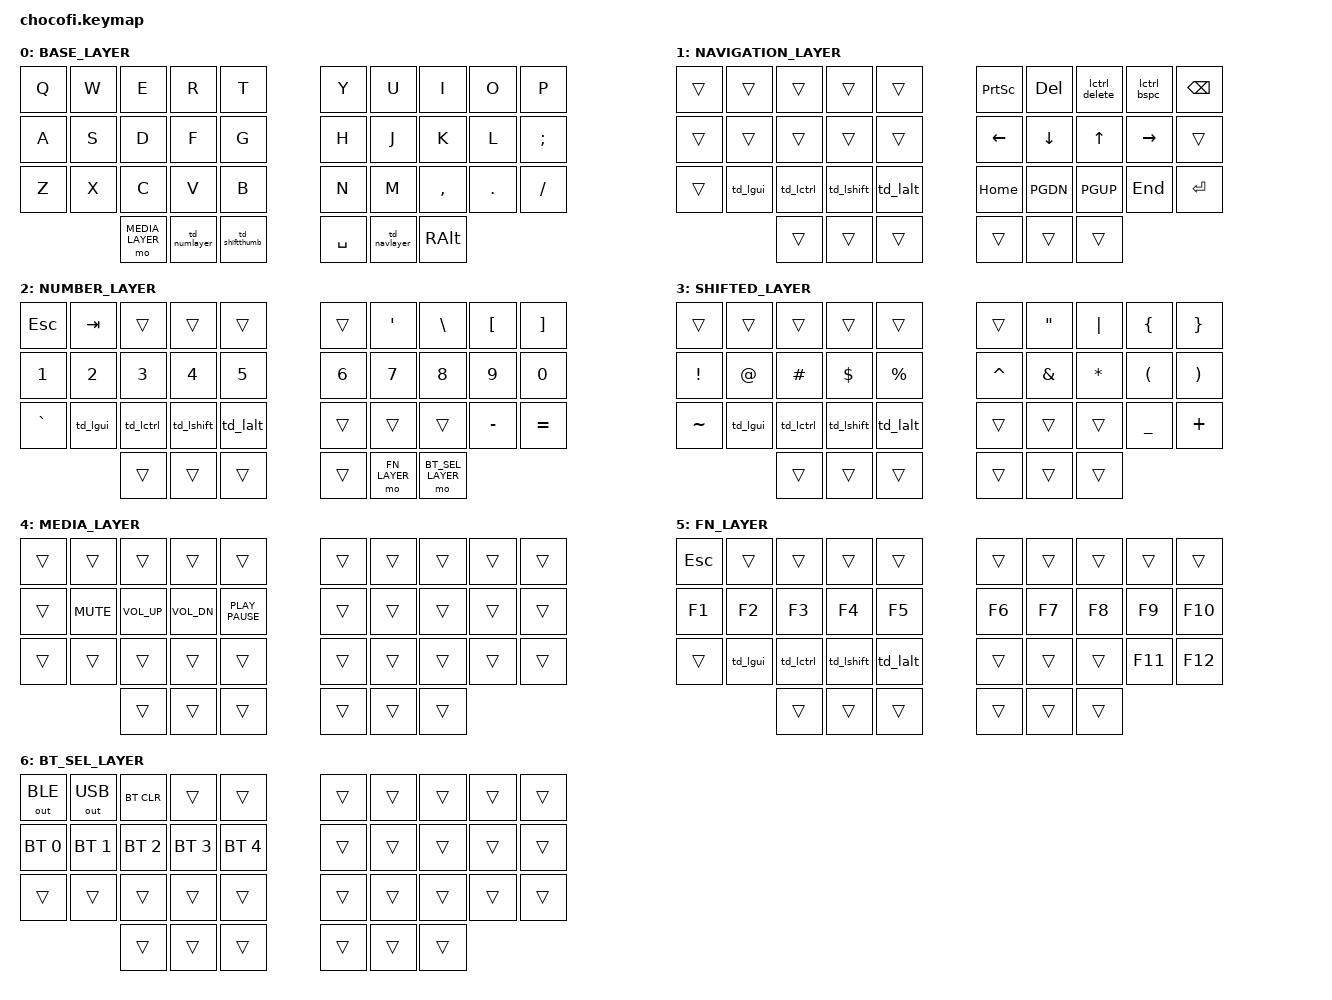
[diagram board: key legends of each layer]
#include <behaviors.dtsi>
#include <dt-bindings/zmk/keys.h>
#include <dt-bindings/zmk/bt.h>
#include <dt-bindings/zmk/mouse.h>
#include <dt-bindings/zmk/outputs.h>

#define BASE_LAYER 0
#define NAVIGATION_LAYER 1
#define NUMBER_LAYER 2
#define SHIFTED_LAYER 3
#define MEDIA_LAYER 4
#define FN_LAYER 5
#define BT_SEL_LAYER 6

&sk {
//*Sticky key parameters
    release-after-ms = <1600>;
    quick-release;
};
&soft_off {
    hold-time-ms = <3000>; // Only turn off if the key is held for 3 seconds or longer.
};

/ {
    macros {
        nav_ctrl: nav_ctrl {
            compatible = "zmk,behavior-macro";
            #binding-cells = <0>;
            bindings
                = <&macro_press &mo NAVIGATION_LAYER>
                , <&macro_press &kp LCTRL>
                , <&macro_pause_for_release>
                , <&macro_release &kp LCTRL>
                , <&macro_release &mo NAVIGATION_LAYER>
                ;
        };
        nav_shift_ctrl: nav_shift_ctrl {
            compatible = "zmk,behavior-macro";
            #binding-cells = <0>;
            bindings
                = <&macro_press &mo NAVIGATION_LAYER>
                , <&macro_press &kp LSHIFT>
                , <&macro_press &kp LCTRL>
                , <&macro_pause_for_release>
                , <&macro_release &kp LSHIFT>
                , <&macro_release &kp LCTRL>
                , <&macro_release &mo NAVIGATION_LAYER>
                ;
        };
        //LCTRL + BSPC
        lctrl_bspc: lctrl_bspc {
            compatible = "zmk,behavior-macro";
            #binding-cells = <0>;
            bindings
                = <&macro_press &kp LCTRL>
                , <&macro_tap &kp BSPC>
                , <&macro_release &kp LCTRL>
                ;
        };
         //LCTRL + DELETE
        lctrl_delete: lctrl_delete {
            compatible = "zmk,behavior-macro";
            #binding-cells = <0>;
            bindings
                = <&macro_press &kp LCTRL>
                , <&macro_tap &kp DELETE>
                , <&macro_release &kp LCTRL>
                ;
        };
        lshift_lctrl: lshift_lctrl {
            compatible = "zmk,behavior-macro";
            #binding-cells = <0>;
            bindings
                = <&macro_tap &sk LSHIFT>
                , <&macro_tap &sk LCTRL>
                ;
        };

    };

    behaviors {
        // SHIFT KEY TAP DANCE //
        td_shiftthumb: shift_tap_dance {
            compatible = "zmk,behavior-tap-dance";
            #binding-cells = <0>;
            tapping-term-ms = <250>;
            bindings = <&kp LSHIFT>, <&sl SHIFTED_LAYER>;
        };
        // NUMBER_LAYER TAP DANCE //
        td_numlayer: num_layer_tap_dance {
            compatible = "zmk,behavior-tap-dance";
            #binding-cells = <0>;
            tapping-term-ms = <250>;
            bindings = <&mo NUMBER_LAYER>, <&sl SHIFTED_LAYER>; 
        };
        // NAVIGATION TAP DANCE //
        td_navlayer: navigation_layer_tap_dance {
            compatible = "zmk,behavior-tap-dance";
            #binding-cells = <0>;
            tapping-term-ms = <200>;
            bindings = <&mo NAVIGATION_LAYER>, <&nav_ctrl>, <&nav_shift_ctrl>;
        };
        // MOD TAP DANCES //
        td_lshift: lshft_tap_dance {
            compatible = "zmk,behavior-tap-dance";
            #binding-cells = <0>;
            tapping-term-ms = <200>;
            bindings = <&sk LSHFT>, <&kt LSHFT>;
        };
        td_lctrl: lctrl_tap_dance {
            compatible = "zmk,behavior-tap-dance";
            #binding-cells = <0>;
            tapping-term-ms = <200>;
            bindings = <&sk LCTRL>, <&kt LCTRL>;
        };
        td_lgui: lgui_tap_dance {
            compatible = "zmk,behavior-tap-dance";
            #binding-cells = <0>;
            tapping-term-ms = <200>;
            bindings = <&sk LGUI>, <&kt LGUI>;
        };
        td_lalt: lalt_tap_dance {
            compatible = "zmk,behavior-tap-dance";
            #binding-cells = <0>;
            tapping-term-ms = <200>;
            bindings = <&sk LALT>, <&kt LALT>;
        };
        // SINGLE QUOTE TAP DANCE // 
        td_sqt: single_quote_tap_dance {
            compatible = "zmk,behavior-tap-dance";
            #binding-cells = <0>;
            tapping-term-ms = <200>;
            bindings = <&kp SINGLE_QUOTE>, <&kp DOUBLE_QUOTES>;
        };
        // BACKSLASH AND BRACKETS TAP DANCES //
        td_bslh:back_slash_tap_dance {
            compatible = "zmk,behavior-tap-dance";
            #binding-cells = <0>;
            tapping-term-ms = <200>;
            bindings = <&kp BACKSLASH>, <&kp PIPE>;
        };
        td_lbkt: left_bracket_tap_dance {
            compatible = "zmk,behavior-tap-dance";
            #binding-cells = <0>;
            tapping-term-ms = <200>;
            bindings = <&kp LEFT_BRACKET>, <&kp LEFT_BRACE>;
        };
        td_rbkt: right_bracket_tap_dance {
            compatible = "zmk,behavior-tap-dance";
            #binding-cells = <0>;
            tapping-term-ms = <200>;
            bindings = <&kp RIGHT_BRACKET>, <&kp RIGHT_BRACE>;
        };
    };

    combos {
        compatible = "zmk,combos";
        // SOFT OFF COMBO //
        combo_soft_off {
            timeout-ms = <40>;
            key-positions = <30 31>;
            bindings = <&soft_off>;
        };
    };
    keymap {
                compatible = "zmk,keymap";
//--------------BASE_LAYER--------------//
                BASE_LAYER {
                            bindings = <
    &kp Q &kp W  &kp E &kp R &kp T                   &kp Y &kp U  &kp I    &kp O   &kp P
    &kp A &kp S  &kp D &kp F &kp G                   &kp H &kp J  &kp K     &kp L   &kp SEMICOLON
    &kp Z &kp X  &kp C &kp V &kp B                   &kp N &kp M  &kp COMMA &kp DOT &kp FSLH
    &mo MEDIA_LAYER  &td_numlayer  &td_shiftthumb    &kp SPACE  &td_navlayer  &kp RALT
                        >;
                };
//--------------NAVIGATION_LAYER--------------//
                NAVIGATION_LAYER {
                        bindings = <
   &trans  &trans  &trans  &trans  &trans               &kp PRINTSCREEN  &kp DELETE  &lctrl_delete  &lctrl_bspc  &kp BSPC
   &trans  &trans  &trans  &trans  &trans               &kp LEFT  &kp DOWN  &kp UP    &kp RIGHT    &trans 
   &trans  &td_lgui  &td_lctrl  &td_lshift  &td_lalt    &kp HOME  &kp PGDN  &kp PGUP  &kp END  &kp ENTER
   &trans  &trans  &trans                               &trans  &trans  &trans
                        >;
                };
                
//--------------NUMBER LAYER--------------//
                NUMBER_LAYER {
                        bindings = <
    &kp ESC  &kp TAB  &trans  &trans  &trans                &trans  &kp SQT  &kp BSLH  &kp LBKT  &kp RBKT
    &kp N1  &kp N2  &kp N3  &kp N4  &kp N5                  &kp N6  &kp N7  &kp N8  &kp N9  &kp N0
    &kp GRAVE  &td_lgui  &td_lctrl  &td_lshift  &td_lalt    &trans  &trans  &trans  &kp MINUS  &kp EQUAL
    &trans  &trans  &trans                                  &trans  &mo FN_LAYER  &mo BT_SEL_LAYER
                        >;
                };
//--------------SHIFTED LAYER--------------//
                SHIFTED_LAYER {
                        bindings = <
    &trans   &trans  &trans  &trans  &trans                 &trans  &kp DQT  &kp PIPE  &kp LBRC  &kp RBRC
    &kp EXCL &kp AT &kp HASH &kp DLLR &kp PRCNT             &kp CARET &kp AMPS &kp ASTRK &kp LPAR &kp RPAR
    &kp TILDE  &td_lgui  &td_lctrl  &td_lshift  &td_lalt    &trans  &trans  &trans  &kp UNDER  &kp PLUS
    &trans  &trans  &trans                                  &trans  &trans  &trans 
                        >;
                };
//--------------MEDIA LAYER--------------//
                MEDIA_LAYER {
                    bindings = <
    &trans  &trans  &trans  &trans  &trans                              &trans  &trans  &trans  &trans  &trans 
    &trans  &kp K_MUTE  &kp K_VOL_UP  &kp K_VOL_DN  &kp K_PLAY_PAUSE    &trans  &trans  &trans  &trans  &trans
    &trans  &trans  &trans  &trans  &trans                              &trans  &trans  &trans  &trans  &trans 
    &trans  &trans  &trans                                              &trans  &trans  &trans
                    >;
                }; 
//--------------FN LAYER--------------//
                FN_LAYER {
                    bindings = <
    &kp ESC  &trans  &trans  &trans  &trans                &trans  &trans  &trans  &trans  &trans 
    &kp F1  &kp F2  &kp F3  &kp F4  &kp F5                &kp F6  &kp F7  &kp F8  &kp F9  &kp F10
    &trans  &td_lgui  &td_lctrl  &td_lshift  &td_lalt    &trans  &trans  &trans  &kp F11  &kp F12 
    &trans  &trans  &trans                                &trans  &trans  &trans
                    >;
                };  
//--------------BT SELECTION LAYER--------------//
                BT_SEL_LAYER {
                        bindings = <
    &out OUT_BLE  &out OUT_USB  &bt BT_CLR  &trans  &trans              &trans  &trans  &trans  &trans  &trans
    &bt BT_SEL 0 &bt BT_SEL 1 &bt BT_SEL 2 &bt BT_SEL 3 &bt BT_SEL 4    &trans  &trans  &trans  &trans  &trans
    &trans  &trans  &trans  &trans  &trans                              &trans  &trans  &trans  &trans  &trans
    &trans  &trans  &trans                                              &trans  &trans  &trans  
                        >;
                };
    }; 

};
